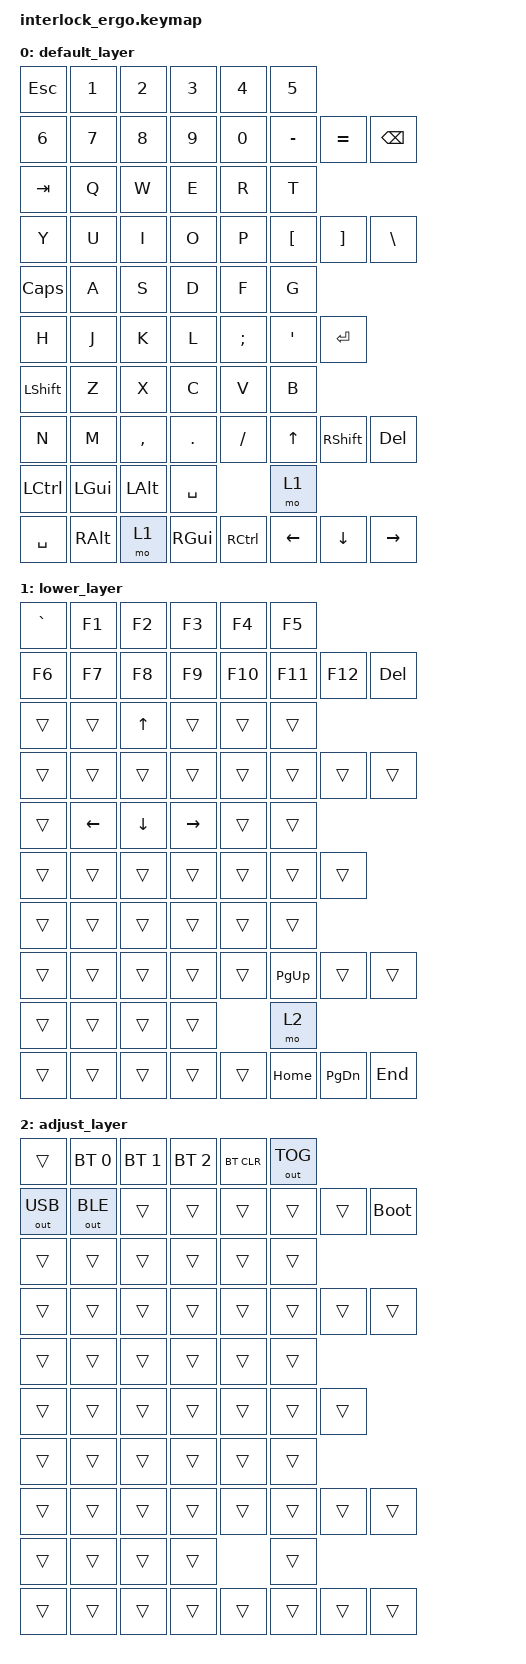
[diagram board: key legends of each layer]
#include <behaviors.dtsi>
#include <dt-bindings/zmk/keys.h>
#include <dt-bindings/zmk/bt.h>
#include <dt-bindings/zmk/outputs.h>

/ {
    keymap {
        compatible = "zmk,keymap";

        default_layer {
            bindings = <
                /* Left Half: Esc..5, Tab..T, Caps..G, Shift..B */
                &kp ESC          &kp N1    &kp N2   &kp N3   &kp N4    &kp N5
                /* Right Half: 6, Y, H, N strictly on right half (DZ60 split down middle) */
                &kp N6           &kp N7    &kp N8   &kp N9   &kp N0    &kp MINUS &kp EQUAL &kp BSPC

                &kp TAB          &kp Q     &kp W    &kp E    &kp R     &kp T
                &kp Y            &kp U     &kp I    &kp O    &kp P     &kp LBKT  &kp RBKT  &kp BSLH

                &kp CLCK         &kp A     &kp S    &kp D    &kp F     &kp G
                &kp H            &kp J     &kp K    &kp L    &kp SEMI  &kp SQT   &kp RET

                &kp LSHFT        &kp Z     &kp X    &kp C    &kp V     &kp B
                &kp N            &kp M     &kp COMMA &kp DOT &kp FSLH  &kp UP    &kp RSHFT &kp DEL

                &kp LCTRL        &kp LGUI  &kp LALT &kp SPACE           &mo 1
                &kp SPACE        &kp RALT  &mo 1    &kp RGUI  &kp RCTRL &kp LEFT &kp DOWN  &kp RIGHT
            >;
        };

        lower_layer {
            bindings = <
                &kp GRAVE    &kp F1    &kp F2   &kp F3   &kp F4    &kp F5
                &kp F6       &kp F7    &kp F8   &kp F9   &kp F10   &kp F11   &kp F12   &kp DEL

                &trans       &trans    &kp UP   &trans    &trans    &trans
                &trans       &trans    &trans   &trans   &trans    &trans    &trans    &trans

                &trans       &kp LEFT  &kp DOWN &kp RIGHT &trans    &trans
                &trans       &trans    &trans   &trans   &trans    &trans    &trans

                &trans       &trans    &trans   &trans   &trans    &trans
                &trans       &trans    &trans   &trans   &trans    &kp PG_UP &trans    &trans

                &trans       &trans    &trans   &trans             &mo 2
                &trans       &trans    &trans   &trans   &trans    &kp HOME  &kp PG_DN &kp END
            >;
        };

        adjust_layer {
            bindings = <
                &trans       &bt BT_SEL 0   &bt BT_SEL 1  &bt BT_SEL 2  &bt BT_CLR  &out OUT_TOG
                &out OUT_USB &out OUT_BLE   &trans        &trans        &trans      &trans        &trans      &bootloader

                &trans       &trans        &trans        &trans        &trans      &trans
                &trans       &trans        &trans        &trans        &trans      &trans        &trans      &trans

                &trans       &trans        &trans        &trans        &trans      &trans
                &trans       &trans        &trans        &trans        &trans      &trans        &trans

                &trans       &trans        &trans        &trans        &trans      &trans
                &trans       &trans        &trans        &trans        &trans      &trans        &trans      &trans

                &trans       &trans        &trans        &trans                    &trans
                &trans       &trans        &trans        &trans        &trans      &trans        &trans      &trans
            >;
        };
    };
};
